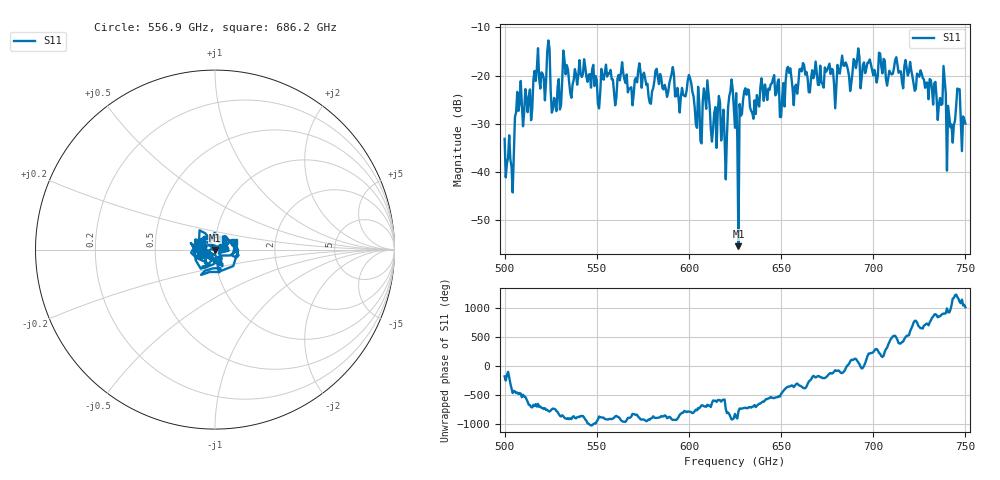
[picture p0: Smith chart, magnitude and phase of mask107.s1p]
!Created with skrf (http://scikit-rf.org).
# GHz S MA R 50.0
!freq magS11 angS11
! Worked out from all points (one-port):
!   401 points, 500 GHz to 750 GHz, reference 50 ohm
!   lowest |S11| = -55.3 dB at 626.9 GHz (marker M1), VSWR 1.00, Z = 50.1 - j0.153 ohm
!   |S11| at or under -10 dB: start of sweep to end of sweep
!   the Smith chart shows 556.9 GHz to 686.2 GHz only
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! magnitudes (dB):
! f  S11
! 500 GHz  -33.1
! 503.8 GHz  -38.9
! 507.5 GHz  -27.3
! 513.8 GHz  -22.9
! 516.9 GHz  -21.1
! 523.8 GHz  -12.7
! 526.9 GHz  -24.6
! 531.2 GHz  -21.1
! 562.5 GHz  -21.0
! 590.6 GHz  -19.6
! 593.8 GHz  -22.5
! 600.6 GHz  -20.5
! 605.6 GHz  -25.8
! 609.4 GHz  -26.9
! 618.8 GHz  -27.0
! 622.5 GHz  -23.3
! 625 GHz  -30.8
! 625.6 GHz  -23.6
! 626.9 GHz  -55.3
! 631.2 GHz  -24.0
! 635 GHz  -28.9
! 656.2 GHz  -22.7
! 687.5 GHz  -23.2
! 718.8 GHz  -20.0
! 738.1 GHz  -18.0
! 741.2 GHz  -28.4
! 745.6 GHz  -22.7
! 750 GHz  -30.0
